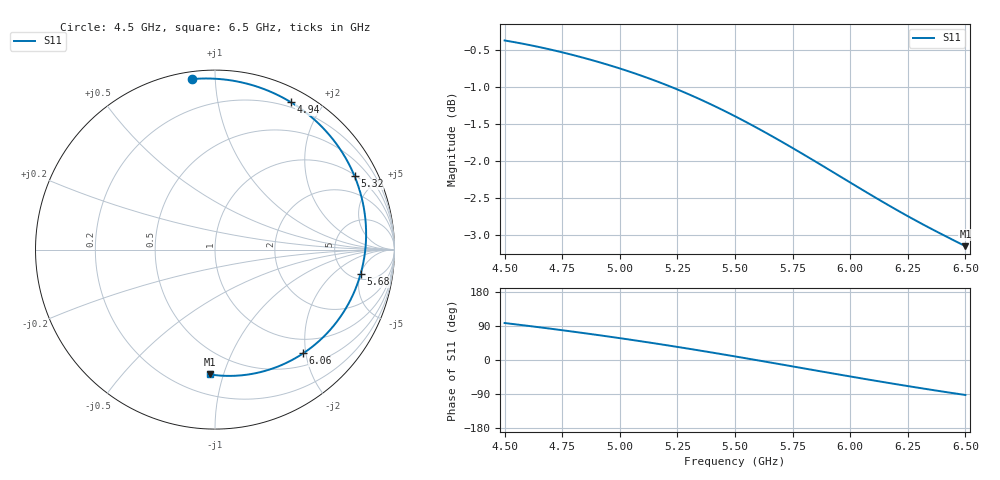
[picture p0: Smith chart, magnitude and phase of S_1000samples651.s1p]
! TOUCHSTONE file generated by CST MICROWAVE STUDIO
! Date and time: Fri Oct 28 22:04:03 2022
! Project name: L.cst
! Parameters = {Di=1.27; Epsilon_r=1.56; InnerDiameter=1.27; Length=2; Lf=10; Lg=60; OuterConductorThickness=0.2921; OuterDiameter=3.6; Wf=3; Wp=41.2; de=1.5; df=6.8; g=0.8; gx=4.9413; gy=4.75488; h=2.34; hf=1.524; px=13.4325; py=11.0745; w=9.7; wx=8.4912; wy=6.31962}
! Header version: 2018
! Port assignment regex: !\s*Touchstone port\s*([0-9]+)\s*=\s*(CST MWS port|CST DS port)\s*([0-9]+|Zmin|Zmax)\s*\(\"(.*)\"\)(\s*mode\s*([0-9]+))?.*
! Touchstone port assignment:
! Touchstone port 1 = CST MWS port 1 ("")
# GHz S DB R 50
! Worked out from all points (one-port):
!   101 points, 4.5 GHz to 6.5 GHz, reference 50 ohm
!   lowest |S11| = -3.1 dB at 6.5 GHz (marker M1), VSWR 5.58, Z = 16.7 - j45.1 ohm
!   |S11| at or under -10 dB: nowhere
!   S11 on the Smith chart (normalised r, x): 4.5 GHz: 0.04, +0.88; 4.94 GHz: 0.15, +1.63; 5.32 GHz: 1.06, +3.78; 5.68 GHz: 6.00, -5.02; 6.06 GHz: 0.72, -1.95; 6.5 GHz: 0.33, -0.90
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4.5  -0.37 97.6
4.58  -0.41 91.7
4.64  -0.45 87.2
4.76  -0.54 77.8
4.86  -0.62 69.6
4.94  -0.69 62.9
5  -0.75 57.6
5.06  -0.81 52.3
5.12  -0.87 46.8
5.2  -0.97 39.3
5.26  -1.04 33.6
5.32  -1.12 27.7
5.42  -1.27 17.7
5.5  -1.39 9.4
5.58  -1.52 1.1
5.62  -1.59 -3.1
5.68  -1.70 -9.5
5.76  -1.84 -18.0
5.82  -1.95 -24.4
5.88  -2.06 -30.8
5.94  -2.17 -37.1
6  -2.29 -43.4
6.06  -2.40 -49.7
6.16  -2.58 -59.9
6.26  -2.76 -69.8
6.32  -2.86 -75.6
6.38  -2.96 -81.3
6.5  -3.15 -92.3
